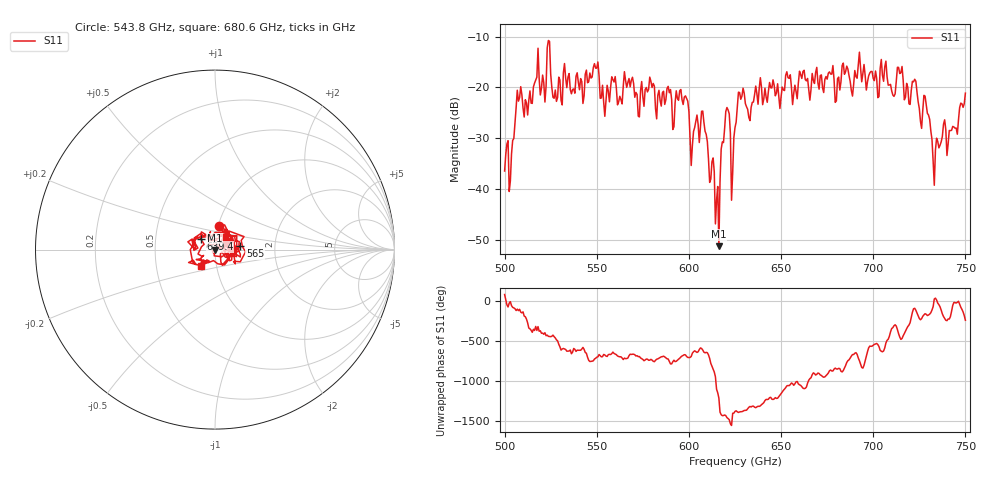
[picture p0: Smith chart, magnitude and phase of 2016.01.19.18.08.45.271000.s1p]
!Created with skrf (http://scikit-rf.org).
# GHz S RI R 50.0
!freq ReS11 ImS11
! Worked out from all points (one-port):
!   401 points, 500 GHz to 750 GHz, reference 50 ohm
!   lowest |S11| = -51.3 dB at 616.2 GHz (marker M1), VSWR 1.01, Z = 49.8 - j0.194 ohm
!   |S11| at or under -10 dB: start of sweep to end of sweep
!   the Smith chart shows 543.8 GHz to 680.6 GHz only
!   S11 on the Smith chart (normalised r, x): 543.8 GHz: 1.01, +0.27; 565 GHz: 1.33, +0.05; 639.4 GHz: 0.85, +0.10; 680.6 GHz: 0.84, -0.16
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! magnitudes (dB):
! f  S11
! 500 GHz  -36.5
! 503.8 GHz  -33.1
! 508.1 GHz  -22.1
! 523.8 GHz  -10.8
! 526.9 GHz  -22.2
! 531.2 GHz  -23.5
! 543.8 GHz  -17.4
! 549.4 GHz  -16.2
! 553.1 GHz  -19.6
! 562.5 GHz  -21.8
! 565 GHz  -16.9
! 593.8 GHz  -22.2
! 601.9 GHz  -31.5
! 608.1 GHz  -26.9
! 616.2 GHz  -51.3
! 620.6 GHz  -24.0
! 623.8 GHz  -36.7
! 625 GHz  -27.9
! 628.1 GHz  -22.4
! 639.4 GHz  -20.0
! 656.2 GHz  -23.4
! 680.6 GHz  -18.3
! 687.5 GHz  -18.8
! 714.4 GHz  -17.3
! 718.8 GHz  -20.0
! 728.8 GHz  -23.5
! 733.8 GHz  -32.4
! 750 GHz  -21.2
